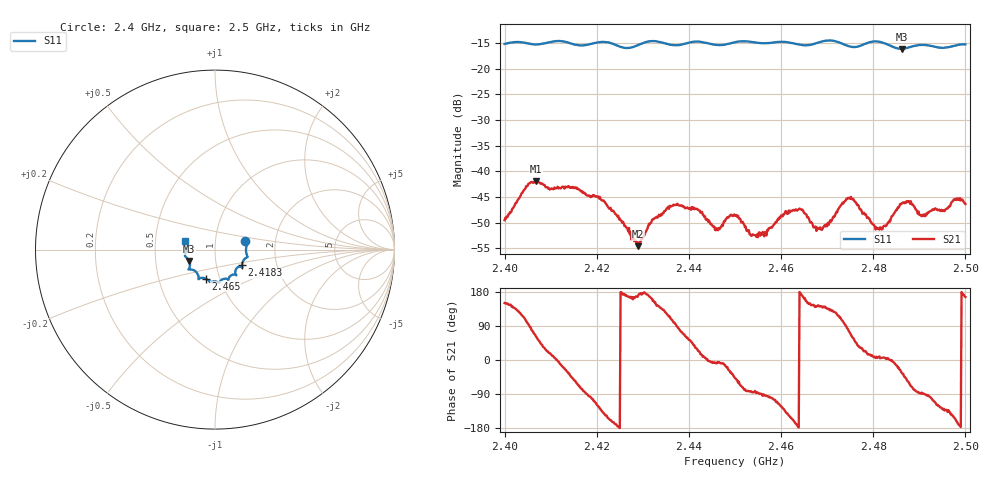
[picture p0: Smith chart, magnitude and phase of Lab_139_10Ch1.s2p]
# Hz S RI R 50
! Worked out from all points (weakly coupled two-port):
!   601 points, 2.4 GHz to 2.5 GHz, reference 50 ohm
!   highest |S21| = -41.90 dB at 2.4068 GHz (marker M1); lowest = -54.6 dB at 2.429 GHz (marker M2)
!   lowest |S11| = -16.1 dB at 2.4862 GHz (marker M3), VSWR 1.37, Z = 37.2 - j4.81 ohm
!   |S11| at or under -10 dB: start of sweep to end of sweep
!   S12 and S22 are empty: the file has one direction only
!   S11 on the Smith chart (normalised r, x): 2.4 GHz: 1.40, +0.13; 2.4183 GHz: 1.33, -0.24; 2.465 GHz: 0.86, -0.28; 2.5 GHz: 0.71, +0.07
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2.4e9  0.1687 0.0464  -0.0029 0.00166  0 0  0 0
2.406833e9  0.1725 -0.00123  0.00384 0.00706  0 0  0 0
2.416667e9  0.1547 -0.0678  0.00152 -0.00615  0 0  0 0
2.418333e9  0.1499 -0.0869  -0.000587 -0.0058  0 0  0 0
2.421667e9  0.1529 -0.1  -0.00401 -0.00306  0 0  0 0
2.429e9  0.1122 -0.1287  -0.00184 0.000296  0 0  0 0
2.433333e9  0.1176 -0.1412  -0.0029 0.00218  0 0  0 0
2.438e9  0.0825 -0.1494  0.000878 0.00455  0 0  0 0
2.441833e9  0.0742 -0.1688  0.0038 0.00202  0 0  0 0
2.446167e9  0.0523 -0.1625  0.00274 -0.000271  0 0  0 0
2.45e9  0.0257 -0.1801  0.00251 -0.00272  0 0  0 0
2.4545e9  0.0115 -0.1798  0.000157 -0.00238  0 0  0 0
2.461167e9  -0.0297 -0.1796  -0.00306 -0.00258  0 0  0 0
2.465e9  -0.0523 -0.1613  -0.00373 0.00122  0 0  0 0
2.466667e9  -0.0711 -0.1572  -0.00258 0.00183  0 0  0 0
2.469167e9  -0.0896 -0.1632  -0.00221 0.00181  0 0  0 0
2.474667e9  -0.0981 -0.134  0.00124 0.00535  0 0  0 0
2.480833e9  -0.148 -0.1104  0.00273 0.000263  0 0  0 0
2.483333e9  -0.1409 -0.0966  0.00318 0.000155  0 0  0 0
2.486167e9  -0.1432 -0.0631  0.00406 -0.00271  0 0  0 0
2.490833e9  -0.1676 -0.0345  0.000122 -0.00368  0 0  0 0
2.5e9  -0.1666 0.0471  -0.00467 0.00113  0 0  0 0
